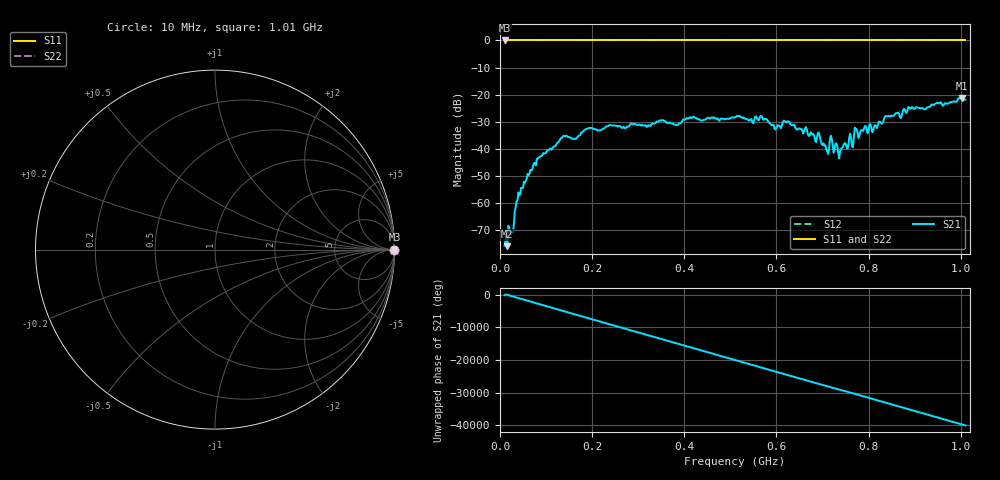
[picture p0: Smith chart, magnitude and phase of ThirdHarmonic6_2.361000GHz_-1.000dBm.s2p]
! 8/17/2025 3:37:45 AM
! C:\ANRITSUVNA\TEMP\TEMP.S2P
! CHANNEL.1
! TR.MEASUREMENT
! RAW.DATA
! RF.CORRECTION.OFF
! AVERAGING.OFF
! IF.BANDWIDTH: 5KHZ
! SWEEPTYPE:  FREQ.SWEEP(Linear)
! Reference Plane Port Info
! PORT:  PORT1  PORT2
! DISTANCE:  0  m  0  m
! TIME:  0  s  0  s
! PHASE.OFFSET:  0  deg.  0  deg.
! LOSS:  0  dB  0  dB
! REF.LOSS:  0  dB  0  dB
! REF.FREQ:  0  Hz  0  Hz
! Power Info
! POWER:  -20  dBm  -20  dBm
! EFF.POWER:  -20  dBm  -20  dBm
! SOURCE.ATTEN:  0  dB  0  dB
! TEST.ATTEN:  0  dB  0  dB
# GHZ S RI R 50.0
! FREQ.GHZ  S11RE  S11IM  S21RE  S21IM  S12RE  S12IM  S22RE  S22IM
!; PortSelection: Port_12
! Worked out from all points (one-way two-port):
!   501 points, 10 MHz to 1.01 GHz, reference 50 ohm
!   highest |S21| = -21.19 dB at 1.002 GHz (marker M1); lowest = -75.8 dB at 16 MHz (marker M2)
!   lowest |S11| = 0.0 dB at 10 MHz (marker M3)
!   |S11| at or under -10 dB: nowhere
!   |S22| runs from 0.0 to 0.0 dB; largest |S21 - S12| = 1.1
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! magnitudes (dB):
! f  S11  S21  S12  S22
! 10 MHz  0.0  -75.6  0.0  0.0
! 16 MHz  0.0  -75.8  0.0  0.0
! 26 MHz  0.0  -70.2  0.0  0.0
! 36 MHz  0.0  -59.3  0.0  0.0
! 44 MHz  0.0  -56.4  0.0  0.0
! 84 MHz  0.0  -43.1  0.0  0.0
! 136 MHz  0.0  -35.5  0.0  0.0
! 178 MHz  0.0  -33.9  0.0  0.0
! 344 MHz  0.0  -29.8  0.0  0.0
! 510 MHz  0.0  -28.4  0.0  0.0
! 568 MHz  0.0  -27.9  0.0  0.0
! 598 MHz  0.0  -32.8  0.0  0.0
! 624 MHz  0.0  -29.7  0.0  0.0
! 678 MHz  0.0  -34.6  0.0  0.0
! 710 MHz  0.0  -40.8  0.0  0.0
! 718 MHz  0.0  -35.1  0.0  0.0
! 738 MHz  0.0  -41.0  0.0  0.0
! 772 MHz  0.0  -32.7  0.0  0.0
! 812 MHz  0.0  -31.7  0.0  0.0
! 844 MHz  0.0  -27.8  0.0  0.0
! 1.002 GHz  0.0  -21.2  0.0  0.0
! 1.01 GHz  0.0  -21.8  0.0  0.0
